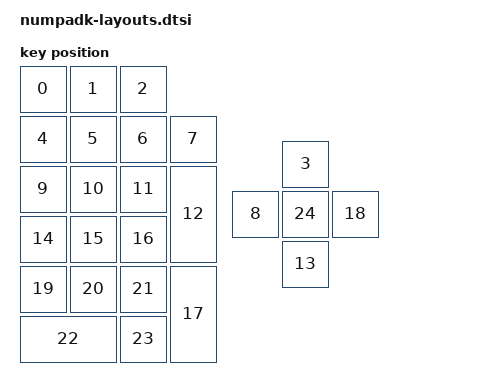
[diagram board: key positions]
#include <physical_layouts.dtsi>

/ {
    numpadk_layout: numpadk_layout {
        compatible = "zmk,physical-layout";
        display-name = "default_layout";
        transform = <&default_transform>;

        keys  //                     w   h    x    y     rot    rx    ry
            = <&key_physical_attrs 100 100    0    0       0     0     0>
            , <&key_physical_attrs 100 100  100    0       0     0     0>
            , <&key_physical_attrs 100 100  200    0       0     0     0>
            , <&key_physical_attrs 100 100  525  150       0     0     0>
            , <&key_physical_attrs 100 100    0  100       0     0     0>
            , <&key_physical_attrs 100 100  100  100       0     0     0>
            , <&key_physical_attrs 100 100  200  100       0     0     0>
            , <&key_physical_attrs 100 100  300  100       0     0     0>
            , <&key_physical_attrs 100 100  425  250       0     0     0>
            , <&key_physical_attrs 100 100    0  200       0     0     0>
            , <&key_physical_attrs 100 100  100  200       0     0     0>
            , <&key_physical_attrs 100 100  200  200       0     0     0>
            , <&key_physical_attrs 100 200  300  200       0     0     0>
            , <&key_physical_attrs 100 100  525  350       0     0     0>
            , <&key_physical_attrs 100 100    0  300       0     0     0>
            , <&key_physical_attrs 100 100  100  300       0     0     0>
            , <&key_physical_attrs 100 100  200  300       0     0     0>
            , <&key_physical_attrs 100 200  300  400       0     0     0>
            , <&key_physical_attrs 100 100  625  250       0     0     0>
            , <&key_physical_attrs 100 100    0  400       0     0     0>
            , <&key_physical_attrs 100 100  100  400       0     0     0>
            , <&key_physical_attrs 100 100  200  400       0     0     0>
            , <&key_physical_attrs 200 100    0  500       0     0     0>
            , <&key_physical_attrs 100 100  200  500       0     0     0>
            , <&key_physical_attrs 100 100  525  250       0     0     0>
            ;
    };
};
